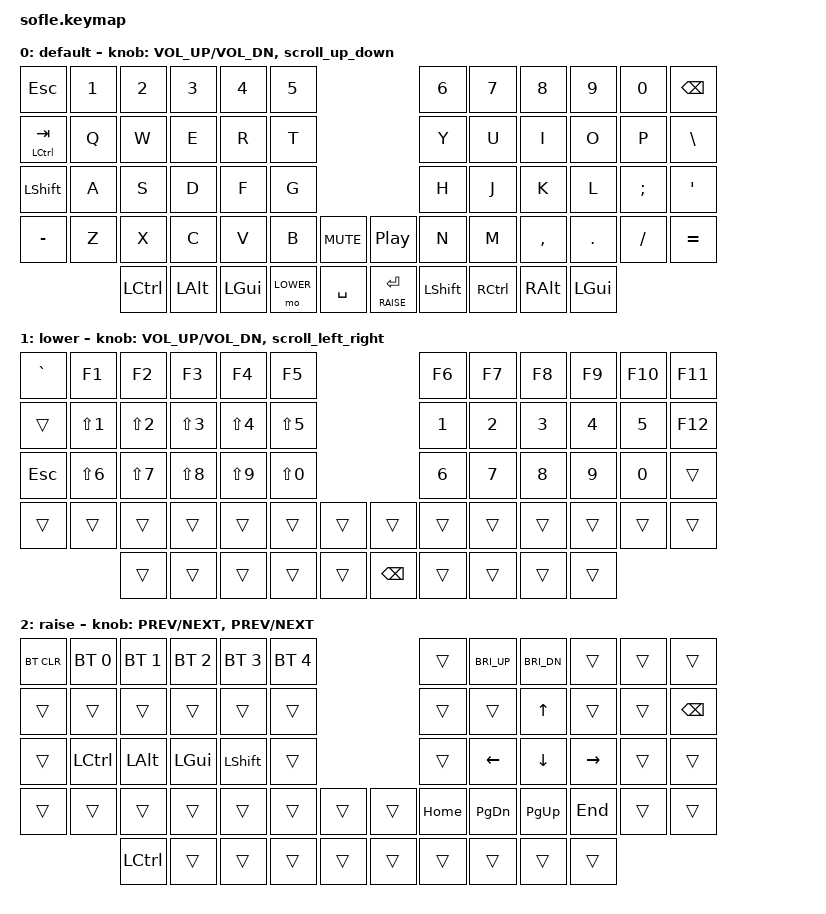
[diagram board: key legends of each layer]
#include <behaviors.dtsi>
#include <dt-bindings/zmk/keys.h>
#include <dt-bindings/zmk/bt.h>
#include <dt-bindings/zmk/ext_power.h>
#include <dt-bindings/zmk/pointing.h>

#define ZMK_POINTING_DEFAULT_SCRL_VAL 100
#define BASE 0
#define LOWER 1
#define RAISE 2

/ {
    behaviors {
        scroll_up_down: behavior_sensor_rotate_mouse_wheel_up_down {
            compatible = "zmk,behavior-sensor-rotate";
            #sensor-binding-cells = <0>;
            bindings = <&msc SCRL_UP>, <&msc SCRL_DOWN>;
            tap-ms = <20>;
        };
        scroll_left_right: behavior_sensor_rotate_mouse_wheel_left_right {
            compatible = "zmk,behavior-sensor-rotate";
            #sensor-binding-cells = <0>;
            bindings = <&msc SCRL_LEFT>, <&msc SCRL_RIGHT>;
            tap-ms = <20>;
        };
    };

    combos {
        compatible = "zmk,combos";
        // +
        combo_plus {
            timeout-ms = <50>;
            key-positions = <14 15>;
            bindings = <&kp LS(EQUAL)>;
        };
        // +
        combo_equal {
            timeout-ms = <50>;
            key-positions = <15 16>;
            bindings = <&kp EQUAL>;
        };
        // (
        combo_lparenthesis {
            timeout-ms = <50>;
            key-positions = <26 27>;
            bindings = <&kp LS(N9)>;
        };
        // )
        combo_rparenthesis {
            timeout-ms = <50>;
            key-positions = <27 28>;
            bindings = <&kp LS(N0)>;
        };
        // [
        combo_lbracket {
            timeout-ms = <50>;
            key-positions = <19 20>;
            bindings = <&kp LBKT>;
        };
        // ]
        combo_rbracket {
            timeout-ms = <50>;
            key-positions = <20 21>;
            bindings = <&kp RBKT>;
        };
        // {
        combo_lbrace {
            timeout-ms = <50>;
            key-positions = <31 32>;
            bindings = <&kp LS(LBKT)>;
        };
        // }
        combo_rbrace {
            timeout-ms = <50>;
            key-positions = <32 33>;
            bindings = <&kp LS(RBKT)>;
        };
        // <
        combo_larrow {
            timeout-ms = <50>;
            key-positions = <45 46>;
            bindings = <&kp LS(COMMA)>;
        };
        // >
        combo_rarrow {
            timeout-ms = <50>;
            key-positions = <46 47>;
            bindings = <&kp LS(DOT)>;
        };
    };

    keymap {
        compatible = "zmk,keymap";

        default_layer {
            display-name = "default";
// ---------------------------------------------------------------------------------------------------------------------------
// | ESC   |  1  |  2  |  3  |  4  |   5    |                                       |  6  |  7  |  8  |  9  |  0  | BSPC |
// | TAB |  Q  |  W  |  E  |  R  |   T    |                                       |  Y  |  U  |  I  |  O  |  P  |  \   |
// | LSHIFT   |  A  |  S  |  D  |  F  |   G    |                                       |  H  |  J  |  K  |  L  |  ;  |  '   |
// | MINUS |  Z  |  X  |  C  |  V  |   B    | MUTE |                         | PP  |  N  |  M  |  ,  |  .  |  /  | EQUAL|
//                    | CTRL | ALT | GUI | LOWER | SPACE |               | ENTER | RAISE  | GUI | ALT | CTRL |
            bindings = <
    &kp ESC      &kp N1    &kp N2    &kp N3    &kp N4    &kp N5                                             &kp N6         &kp N7    &kp N8     &kp N9    &kp N0    &kp BSPC
    &mt LCTRL TAB    &kp Q     &kp W     &kp E     &kp R     &kp T                                              &kp Y          &kp U     &kp I      &kp O     &kp P     &kp BSLH
    &kp LSHIFT     &kp A     &kp S     &kp D     &kp F     &kp G                                              &kp H          &kp J     &kp K      &kp L     &kp SEMI  &kp SQT
    &kp MINUS    &kp Z     &kp X     &kp C     &kp V     &kp B          &kp C_MUTE          &kp C_PP          &kp N          &kp M     &kp COMMA  &kp DOT   &kp FSLH  &kp EQUAL
                      &kp LCTRL  &kp LALT  &kp LGUI  &mo LOWER  &kp SPACE             &lt RAISE ENTER  &kp LSHIFT  &kp RCTRL  &kp RALT  &kp LGUI
            >;
            sensor-bindings = <&inc_dec_kp C_VOL_UP C_VOL_DN &scroll_up_down>;
        };

        lower_layer {
            display-name = "lower";
// -----------------------------------------------------------------------------------------------------------------------------
// | GRAVE | F1  | F2  | F3  | F4  | F5  |                                       | F6  | F7  | F8  | F9  | F10  | F11  |
// |       | !   | @   | #   | $   | %   |                                       |  1  |  2  |  3  | 4   |  5   | F12  |
// | ESC   | ^   | &   | *   | (   | )   |                                       |  6  |  7  |  8  | 9   |  0   |      |
// |       |     |     |     |     |     |                                       |     |     |     |     |      |      |
//            |     |     |     |     |     |                                       |     |     |     |     |      |
            bindings = <
&kp GRAVE  &kp F1     &kp F2     &kp F3     &kp F4     &kp F5                         &kp F6 &kp F7 &kp F8 &kp F9 &kp F10 &kp F11
&trans  &kp LS(N1) &kp LS(N2) &kp LS(N3) &kp LS(N4) &kp LS(N5)                     &kp N1 &kp N2 &kp N3 &kp N4 &kp N5  &kp F12
&kp ESC &kp LS(N6) &kp LS(N7) &kp LS(N8) &kp LS(N9) &kp LS(N0)                     &kp N6 &kp N7 &kp N8 &kp N9 &kp N0  &trans
&trans  &trans     &trans     &trans     &trans     &trans     &trans     &trans   &trans &trans &trans &trans &trans  &trans
                   &trans     &trans     &trans     &trans     &trans     &kp BSPC &trans &trans &trans &trans
            >;

            sensor-bindings = <&inc_dec_kp C_VOL_UP C_VOL_DN &scroll_left_right>;
        };

        raise_layer {
            display-name = "raise";
// ------------------------------------------------------------------------------------------------------------------------------------
// | BTCLR | BT1    | BT2    | BT3    | BT4    | BT5    |                                       |       | BRUP   | BRDN   |       |       |       |
// |       |        |        |        |        |        |                                       |       |        |  UP    |       |       | BSPC  |
// |       | CTRL   | ALT    | GUI    | SHIFT  |        |                                       | LEFT  | DOWN   |        | RIGHT |       |       |
// |       |        |        |        |        |        |        |                       |       | HOME  | PGDN   | PGUP   | END   |       |       |
//            |        |        |        |        |        |                       |       |       |        |        |       |
            bindings = <
&bt BT_CLR &bt BT_SEL 0 &bt BT_SEL 1 &bt BT_SEL 2 &bt BT_SEL 3 &bt BT_SEL 4                    &trans     &kp C_BRI_UP  &kp C_BRI_DN  &trans     &trans    &trans
&trans     &trans       &trans       &trans       &trans       &trans                          &trans   &trans     &kp UP    &trans   &trans  &kp BSPC
&trans     &kp LCTRL    &kp LALT     &kp LGUI     &kp LSHFT    &trans                          &trans   &kp LEFT      &kp DOWN       &kp RIGHT  &trans    &trans
&trans     &trans       &trans       &trans       &trans       &trans        &trans    &trans  &kp HOME   &kp PG_DN     &kp PG_UP     &kp END    &trans &trans
                        &kp LCTRL    &trans       &trans       &trans        &trans    &trans  &trans     &trans        &trans        &trans
            >;

            sensor-bindings = <&inc_dec_kp C_PREV C_NEXT &inc_dec_kp C_PREV C_NEXT>;
        };
        extra1 {
            status = "reserved";
        };

        extra2 {
            status = "reserved";
        };
    };
};
